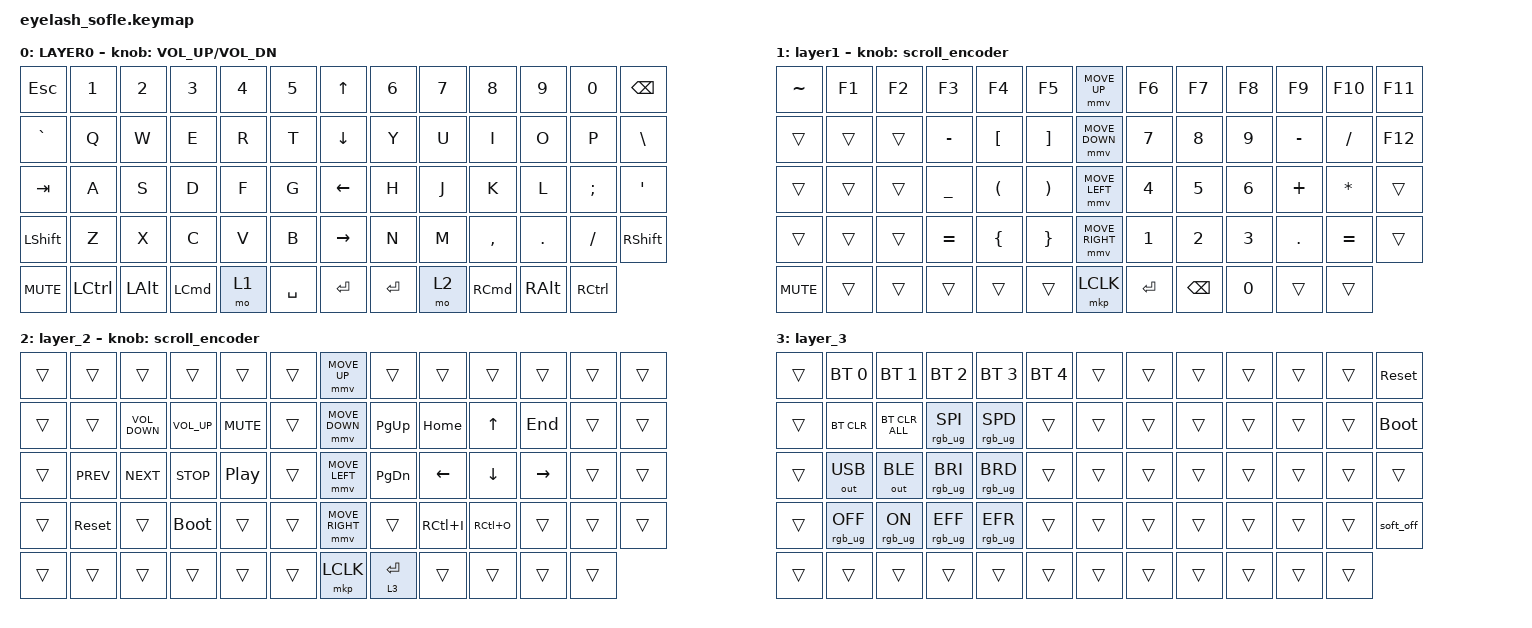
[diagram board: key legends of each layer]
#define ZMK_POINTING_DEFAULT_MOVE_VAL 1200  // 600
#define ZMK_POINTING_DEFAULT_SCRL_VAL 35    // 10

#include <input/processors.dtsi>
#include <zephyr/dt-bindings/input/input-event-codes.h>
#include <behaviors.dtsi>
#include <dt-bindings/zmk/bt.h>
#include <dt-bindings/zmk/keys.h>
#include <dt-bindings/zmk/outputs.h>
#include <dt-bindings/zmk/pointing.h>
#include <dt-bindings/zmk/rgb.h>

/ {
    zip_scroll_scaler: zip_scroll_scaler {
        compatible = "zmk,input-processor-scaler";
        #input-processor-cells = <2>;
        type = <INPUT_EV_REL>;
        codes = <INPUT_REL_WHEEL INPUT_REL_HWHEEL>;
        track-remainders;
    };
};

&mmv_input_listener { input-processors = <&zip_xy_scaler 2 1>; };

&msc_input_listener { input-processors = <&zip_scroll_scaler 2 1>; };

&msc {
    acceleration-exponent = <0>;      // 0
    time-to-max-speed-ms = <0>;       // 300
    delay-ms = <0>;                   // 0
};

&mmv {
    time-to-max-speed-ms = <400>;
    acceleration-exponent = <1>;
};

/ {
    scroll_encoder: scroll_encoder {
        compatible = "zmk,behavior-sensor-rotate";
        #sensor-binding-cells = <0>;
        bindings = <&msc SCRL_DOWN>, <&msc SCRL_UP>;

        tap-ms = <30>;
    };

    behaviors {
    };

    keymap {
        compatible = "zmk,keymap";

        layer0 {
            bindings = <
&kp ESC     &kp N1            &kp N2        &kp N3            &kp N4  &kp N5       &kp UP_ARROW     &kp N6     &kp N7  &kp N8             &kp N9         &kp N0             &kp BACKSPACE
&kp GRAVE   &kp Q             &kp W         &kp E             &kp R   &kp T        &kp DOWN_ARROW   &kp Y      &kp U   &kp I              &kp O          &kp P              &kp BSLH
&kp TAB     &kp A             &kp S         &kp D             &kp F   &kp G        &kp LEFT_ARROW   &kp H      &kp J   &kp K              &kp L          &kp SEMI           &kp APOS
&kp LSHFT   &kp Z             &kp X         &kp C             &kp V   &kp B        &kp RIGHT_ARROW  &kp N      &kp M   &kp COMMA          &kp DOT        &kp FSLH           &kp RIGHT_SHIFT
&kp C_MUTE  &kp LEFT_CONTROL  &kp LEFT_ALT  &kp LEFT_COMMAND  &mo 1   &kp SPACE    &kp ENTER        &kp ENTER  &mo 2   &kp RIGHT_COMMAND  &kp RIGHT_ALT  &kp RIGHT_CONTROL
            >;

            sensor-bindings = <&inc_dec_kp C_VOLUME_UP C_VOL_DN>;
            display-name = "LAYER0";
        };

        layer_1 {
            bindings = <
&kp TILDE   &kp F1  &kp F2  &kp F3          &kp F4                &kp F5                   &mmv MOVE_UP     &kp F6        &kp F7         &kp F8        &kp F9      &kp F10       &kp F11
&trans      &trans  &trans  &kp MINUS       &kp LEFT_BRACKET      &kp RIGHT_BRACKET        &mmv MOVE_DOWN   &kp N7        &kp N8         &kp N9        &kp MINUS   &kp SLASH     &kp F12
&trans      &trans  &trans  &kp UNDERSCORE  &kp LEFT_PARENTHESIS  &kp RIGHT_PARENTHESIS    &mmv MOVE_LEFT   &kp NUMBER_4  &kp N5         &kp NUMBER_6  &kp PLUS    &kp ASTERISK  &trans
&trans      &trans  &trans  &kp EQUAL       &kp LEFT_BRACE        &kp RIGHT_BRACE          &mmv MOVE_RIGHT  &kp NUMBER_1  &kp NUMBER_2   &kp NUMBER_3  &kp PERIOD  &kp EQUAL     &trans
&kp C_MUTE  &trans  &trans  &trans          &trans                &trans                   &mkp LCLK        &kp ENTER     &kp BACKSPACE  &kp N0        &trans      &trans
            >;

            display-name = "layer1";
            sensor-bindings = <&scroll_encoder>;
        };

        layer_2 {
            bindings = <
&trans  &trans      &trans             &trans           &trans            &trans    &mmv MOVE_UP     &trans         &trans          &trans        &trans     &trans  &trans
&trans  &trans      &kp K_VOLUME_DOWN  &kp K_VOLUME_UP  &kp K_MUTE        &trans    &mmv MOVE_DOWN   &kp PAGE_UP    &kp HOME        &kp UP_ARROW  &kp END    &trans  &trans
&trans  &kp C_PREV  &kp C_NEXT         &kp C_STOP       &kp C_PLAY_PAUSE  &trans    &mmv MOVE_LEFT   &kp PAGE_DOWN  &kp LEFT_ARROW  &kp DOWN      &kp RIGHT  &trans  &trans
&trans  &sys_reset  &trans             &bootloader      &trans            &trans    &mmv MOVE_RIGHT  &trans         &kp RC(I)       &kp RC(O)     &trans     &trans  &trans
&trans  &trans      &trans             &trans           &trans            &trans    &mkp LCLK        &lt 3 ENTER    &trans          &trans        &trans     &trans
            >;

            sensor-bindings = <&scroll_encoder>;
        };

        layer_3 {
            bindings = <
&trans  &bt BT_SEL 0     &bt BT_SEL 1    &bt BT_SEL 2     &bt BT_SEL 3     &bt BT_SEL 4    &trans  &trans  &trans  &trans  &trans  &trans  &sys_reset
&trans  &bt BT_CLR       &bt BT_CLR_ALL  &rgb_ug RGB_SPI  &rgb_ug RGB_SPD  &trans          &trans  &trans  &trans  &trans  &trans  &trans  &bootloader
&trans  &out OUT_USB     &out OUT_BLE    &rgb_ug RGB_BRI  &rgb_ug RGB_BRD  &trans          &trans  &trans  &trans  &trans  &trans  &trans  &trans
&trans  &rgb_ug RGB_OFF  &rgb_ug RGB_ON  &rgb_ug RGB_EFF  &rgb_ug RGB_EFR  &trans          &trans  &trans  &trans  &trans  &trans  &trans  &soft_off
&trans  &trans           &trans          &trans           &trans           &trans          &trans  &trans  &trans  &trans  &trans  &trans
            >;
        };
    };
};
